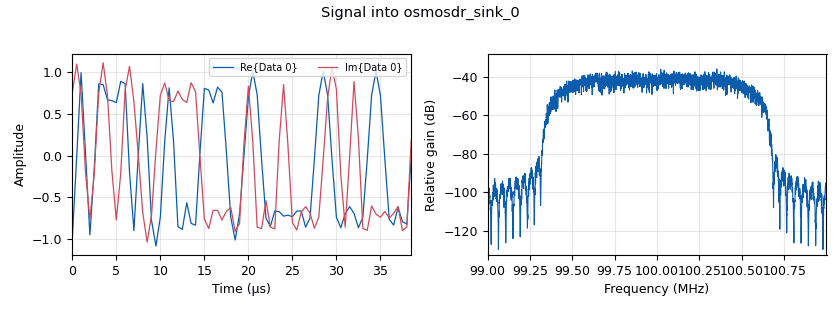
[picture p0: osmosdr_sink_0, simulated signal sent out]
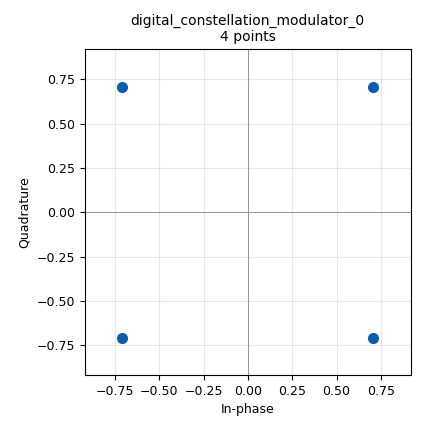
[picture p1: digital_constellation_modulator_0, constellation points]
options:
  parameters:
    author: abhilash
    generate_options: qt_gui
    id: tx
    output_language: python
    title: Not titled yet
  states: {}

blocks:
- name: QAM16
  id: variable_constellation
  parameters:
    const_points: '[(-3-3j), (-1-3j), (1-3j), (3-3j), (-3-1j), (-1-1j), (1-1j), (3-1j), (-3+1j), (-1+1j), (1+1j), (3+1j), (-3+3j), (-1+3j), (1+3j), (3+3j)]'
    dims: '1'
    normalization: digital.constellation.AMPLITUDE_NORMALIZATION
    precision: '8'
    rot_sym: '4'
    sym_map: ' [0, 4, 12, 8, 1, 5, 13, 9, 3, 7, 15, 11, 2, 6, 14, 10]'
    type: calcdist
  states: {}
- name: QAM64
  id: variable_constellation
  parameters:
    const_points: '[(-7-7j),(-5-7j), (-3-7j), (-1-7j),(1-7j),(3-7j),(5-7j),(7-7j),(-7-5j), (-5-5j), (-3-5j), (-1-5j),(1-5j),(3-5j),(5-5j),(7-5j),(-7-3j), (-5-3j), (-3-3j), (-1-3j),(1-3j),(3-3j),(5-3j),(7-3j),(-7-1j), (-5-1j), (-3-1j), (-1-1j),(1-1j),(3-1j),(5-1j),(7-1j),(-7+1j), (-5+1j), (-3+1j), (-1+1j),(1+1j),(3+1j),(5+1j),(7+1j),(-7+3j), (-5+3j), (-3+3j), (-1+3j),(1+3j),(3+3j),(5+3j),(7+3j),(-7+5j), (-5+5j), (-3+5j), (-1+5j),(1+5j),(3+5j),(5+5j),(7+5j),(-7+7j), (-5+7j), (-3+7j), (-1+7j),(1+7j),(3+7j),(5+7j),(7+7j)]'
    dims: '1'
    normalization: digital.constellation.AMPLITUDE_NORMALIZATION
    precision: '8'
    rot_sym: '4'
    sym_map: ' [0, 8,24,16,48,56,40,32,1,9,25,17,49,57,41,33,3,11,27,19,51,59,43,35,2,10,26,18,50,58,42,34,6,14,30,22,54,62,46,38,7,15,31,23,55,63,47,39,5,13,29,21,53,61,45,37,4,12,28,20,52,60,44,36]'
    type: calcdist
  states: {}
- name: QPSK
  id: variable_constellation
  parameters:
    const_points: '[(-1-1j),(1-1j),(-1+1j),(1+1j)]'
    dims: '1'
    normalization: digital.constellation.AMPLITUDE_NORMALIZATION
    precision: '8'
    rot_sym: '4'
    sym_map: ' [0,1,2,3]'
    type: calcdist
  states: {}
- name: SNR
  id: variable_qtgui_range
  parameters:
    outputmsgname: value
    rangeType: int
    showports: 'False'
    start: '1'
    step: '1'
    stop: '15'
    value: '1'
  states: {}
- name: oi_index
  id: variable
  parameters:
    value: int(SNR/5)
  states: {}
- name: samp_rate
  id: variable
  parameters:
    value: 2e6
  states: {}
- name: analog_random_source_x_0
  id: analog_random_source_x
  parameters:
    max: '255'
    min: '0'
    num_samps: '100000'
    repeat: 'True'
    type: byte
  states: {}
- name: blocks_repack_bits_bb_0_1_0_0_0
  id: blocks_repack_bits_bb
  parameters:
    endianness: gr.GR_LSB_FIRST
    k: '8'
    l: '6'
  states: {state: disabled}
- name: blocks_repack_bits_bb_0_1_1
  id: blocks_repack_bits_bb
  parameters:
    endianness: gr.GR_LSB_FIRST
    k: '8'
    l: '2'
  states: {state: disabled}
- name: blocks_repack_bits_bb_0_1_1_0
  id: blocks_repack_bits_bb
  parameters:
    endianness: gr.GR_LSB_FIRST
    k: '8'
    l: '4'
  states: {state: disabled}
- name: blocks_selector_0_0_0
  id: blocks_selector
  parameters:
    enabled: 'True'
    input_index: '0'
    num_inputs: '1'
    num_outputs: '1'
    output_index: oi_index
    type: byte
  states: {}
- name: blocks_selector_0_0_1_0
  id: blocks_selector
  parameters:
    enabled: 'True'
    input_index: oi_index
    num_inputs: '1'
    num_outputs: '1'
    output_index: '0'
    type: complex
  states: {}
- name: blocks_throttle_0
  id: blocks_throttle
  parameters:
    samples_per_second: samp_rate/50
    type: byte
  states: {}
- name: blocks_throttle_0_0
  id: blocks_throttle
  parameters:
    samples_per_second: samp_rate
    type: complex
  states: {}
- name: digital_constellation_encoder_bc_0_0_0_0_0_0
  id: digital_constellation_encoder_bc
  parameters:
    constellation: QAM64
  states: {state: disabled}
- name: digital_constellation_encoder_bc_0_0_0_1
  id: digital_constellation_encoder_bc
  parameters:
    constellation: QPSK
  states: {state: disabled}
- name: digital_constellation_encoder_bc_0_0_0_1_0
  id: digital_constellation_encoder_bc
  parameters:
    constellation: QAM16
  states: {state: disabled}
- name: digital_constellation_modulator_0
  id: digital_constellation_modulator
  parameters:
    constellation: QPSK
    differential: 'True'
    excess_bw: '0.35'
    samples_per_symbol: '2'
  states: {}
- name: osmosdr_sink_0
  id: osmosdr_sink
  parameters:
    bb_gain0: '20'
    freq0: 100e6
    gain0: '10'
    if_gain0: '20'
    sample_rate: samp_rate
    sync: pc_clock
    type: fc32
  states: {}
- name: virtual_sink_0
  id: virtual_sink
  parameters:
    stream_id: qpsk
  states: {}
- name: virtual_sink_0_0
  id: virtual_sink
  parameters:
    stream_id: qam64
  states: {state: disabled}
- name: virtual_sink_0_1
  id: virtual_sink
  parameters:
    stream_id: qam16
  states: {state: disabled}
- name: virtual_source_0
  id: virtual_source
  parameters:
    stream_id: qam64
  states: {state: disabled}
- name: virtual_source_4
  id: virtual_source
  parameters:
    stream_id: qam16
  states: {state: disabled}
- name: virtual_source_5
  id: virtual_source
  parameters:
    stream_id: qpsk
  states: {}

connections:
- [analog_random_source_x_0, '0', blocks_throttle_0, '0']
- [blocks_repack_bits_bb_0_1_0_0_0, '0', digital_constellation_encoder_bc_0_0_0_0_0_0, '0']
- [blocks_repack_bits_bb_0_1_1, '0', digital_constellation_encoder_bc_0_0_0_1, '0']
- [blocks_repack_bits_bb_0_1_1_0, '0', digital_constellation_encoder_bc_0_0_0_1_0, '0']
- [blocks_selector_0_0_0, '0', blocks_repack_bits_bb_0_1_1, '0']
- [blocks_selector_0_0_0, '0', digital_constellation_modulator_0, '0']
- [blocks_selector_0_0_1_0, '0', blocks_throttle_0_0, '0']
- [blocks_throttle_0, '0', blocks_selector_0_0_0, '0']
- [blocks_throttle_0_0, '0', osmosdr_sink_0, '0']
- [digital_constellation_encoder_bc_0_0_0_0_0_0, '0', virtual_sink_0_0, '0']
- [digital_constellation_encoder_bc_0_0_0_1, '0', virtual_sink_0, '0']
- [digital_constellation_encoder_bc_0_0_0_1_0, '0', virtual_sink_0_1, '0']
- [digital_constellation_modulator_0, '0', virtual_sink_0, '0']
- [virtual_source_5, '0', blocks_selector_0_0_1_0, '0']

metadata:
  file_format: 1
  grc_version: 3.10.4.0
